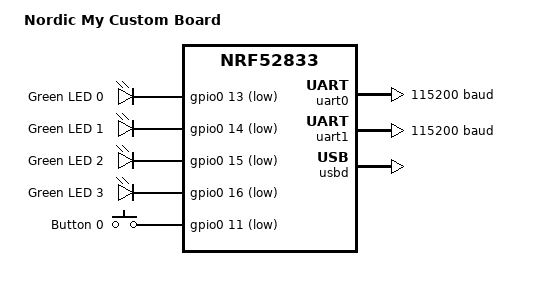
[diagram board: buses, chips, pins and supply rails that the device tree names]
/dts-v1/;
#include <nordic/nrf52833_qiaa.dtsi>
#include "my_custom_board_pinctrl.dtsi"

/ {
	model = "Nordic My Custom Board";
	compatible = "nordic,my-custom-board";
	compatible = "nordic,nrf52833-dk-nrf52833";

	chosen {
		zephyr,console = &uart0;
		zephyr,shell-uart = &uart0;
		zephyr,uart-mcumgr = &uart0;
		zephyr,bt-mon-uart = &uart0;
		zephyr,bt-c2h-uart = &uart0;
		zephyr,sram = &sram0;
		zephyr,flash = &flash0;
		zephyr,code-partition = &slot0_partition;
	};

	leds {
		compatible = "gpio-leds";
		led0: led_0 {
			gpios = <&gpio0 13 GPIO_ACTIVE_LOW>;
			label = "Green LED 0";
		};
		led1: led_1 {
			gpios = <&gpio0 14 GPIO_ACTIVE_LOW>;
			label = "Green LED 1";
		};
		led2: led_2 {
			gpios = <&gpio0 15 GPIO_ACTIVE_LOW>;
			label = "Green LED 2";
		};
		led3: led_3 {
			gpios = <&gpio0 16 GPIO_ACTIVE_LOW>;
			label = "Green LED 3";
		};
	};

	buttons {
		compatible = "gpio-keys";
		button0: button_0 {
			gpios = <&gpio0 11 (GPIO_PULL_UP | GPIO_ACTIVE_LOW)>;
			label = "Button 0";
		};
	};

	aliases {
		led0 = &led0;
		led1 = &led1;
		led2 = &led2;
		led3 = &led3;
		bootloader-led0 = &led0;
		sw0 = &button0;
	};
};

&flash0 {
	partitions {
		compatible = "fixed-partitions";
		#address-cells = <1>;
		#size-cells = <1>;

		boot_partition: partition@0 {
			label = "mcuboot";
			reg = <0x0 0xc000>;
		};
		slot0_partition: partition@c000 {
			label = "image-0";
			reg = <0xc000 0x32000>;
		};
		slot1_partition: partition@3e000 {
			label = "image-1";
			reg = <0x3e000 0x32000>;
		};
		scratch_partition: partition@70000 {
			label = "image-scratch";
			reg = <0x70000 0xa000>;
		};
		storage_partition: partition@7a000 {
			label = "storage";
			reg = <0x7a000 0x6000>;
		};
	};
};

&gpiote {
	status = "okay";
};

&gpio0 {
	status = "okay";
};

&gpio1 {
	status = "okay";
};

&uart0 {
	compatible = "nordic,nrf-uarte";
	status = "okay";
	current-speed = <115200>;
	pinctrl-0 = <&uart0_default>;
	pinctrl-1 = <&uart0_sleep>;
	pinctrl-names = "default", "sleep";
};

arduino_serial: &uart1 {
	status = "okay";
	current-speed = <115200>;
	pinctrl-0 = <&uart1_default>;
	pinctrl-1 = <&uart1_sleep>;
	pinctrl-names = "default", "sleep";
};


zephyr_udc0: &usbd {
	compatible = "nordic,nrf-usbd";
	status = "okay";
};

